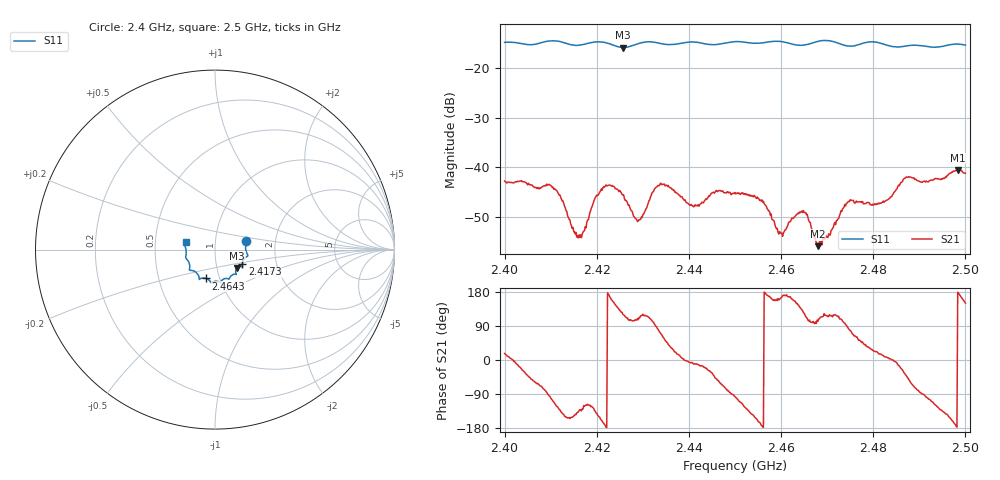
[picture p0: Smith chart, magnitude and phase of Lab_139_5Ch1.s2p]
# Hz S RI R 50
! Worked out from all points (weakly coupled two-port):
!   601 points, 2.4 GHz to 2.5 GHz, reference 50 ohm
!   highest |S21| = -40.54 dB at 2.4983 GHz (marker M1); lowest = -55.8 dB at 2.468 GHz (marker M2)
!   lowest |S11| = -15.9 dB at 2.4257 GHz (marker M3), VSWR 1.38, Z = 62.5 - j13.1 ohm
!   |S11| at or under -10 dB: start of sweep to end of sweep
!   S12 and S22 are empty: the file has one direction only
!   S11 on the Smith chart (normalised r, x): 2.4 GHz: 1.41, +0.14; 2.4173 GHz: 1.34, -0.23; 2.4643 GHz: 0.86, -0.28; 2.5 GHz: 0.72, +0.06
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2.4e9  0.1732 0.0494  0.00697 0.00216  0 0  0 0
2.41e9  0.1835 -0.0329  -0.00114 -0.00644  0 0  0 0
2.412333e9  0.1782 -0.0381  -0.00358 -0.00316  0 0  0 0
2.4155e9  0.1564 -0.0612  -0.00179 -0.0013  0 0  0 0
2.416667e9  0.1528 -0.0746  -0.00137 -0.00141  0 0  0 0
2.417333e9  0.152 -0.082  -0.00122 -0.00195  0 0  0 0
2.4215e9  0.1531 -0.0954  -0.00622 -0.00143  0 0  0 0
2.425667e9  0.1228 -0.1024  -0.00266 0.00454  0 0  0 0
2.429e9  0.1158 -0.1313  -0.000816 0.00278  0 0  0 0
2.433333e9  0.1129 -0.1369  0.00106 0.00649  0 0  0 0
2.440667e9  0.0783 -0.1643  0.00409 -0.000454  0 0  0 0
2.45e9  0.0293 -0.1809  -0.00067 -0.00554  0 0  0 0
2.456e9  -0.00677 -0.178  -0.00445 -0.00031  0 0  0 0
2.459833e9  -0.0233 -0.1828  -0.0021 0.000679  0 0  0 0
2.464333e9  -0.0498 -0.1607  -0.00253 0.0025  0 0  0 0
2.466667e9  -0.076 -0.1597  -0.000385 0.00235  0 0  0 0
2.468e9  -0.0846 -0.1638  -0.000347 0.00157  0 0  0 0
2.474667e9  -0.103 -0.1292  0.000613 0.00451  0 0  0 0
2.483333e9  -0.1407 -0.0901  0.00477 0.000462  0 0  0 0
2.487167e9  -0.1562 -0.0554  0.00601 -0.00527  0 0  0 0
2.498333e9  -0.1702 0.0329  -0.00939 0.000205  0 0  0 0
2.5e9  -0.1637 0.042  -0.00756 0.00434  0 0  0 0
